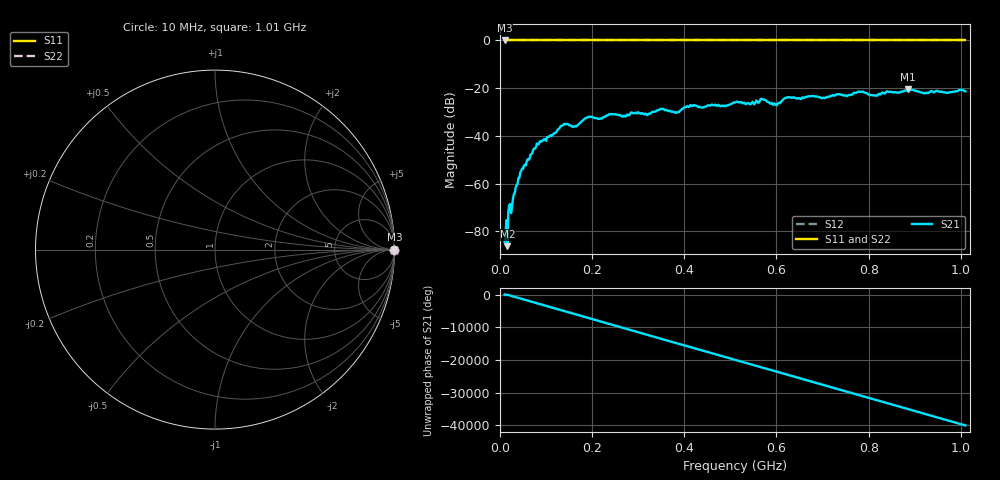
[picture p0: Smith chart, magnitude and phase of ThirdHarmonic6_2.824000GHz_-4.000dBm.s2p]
! 8/17/2025 7:29:21 AM
! C:\ANRITSUVNA\TEMP\TEMP.S2P
! CHANNEL.1
! TR.MEASUREMENT
! RAW.DATA
! RF.CORRECTION.OFF
! AVERAGING.OFF
! IF.BANDWIDTH: 5KHZ
! SWEEPTYPE:  FREQ.SWEEP(Linear)
! Reference Plane Port Info
! PORT:  PORT1  PORT2
! DISTANCE:  0  m  0  m
! TIME:  0  s  0  s
! PHASE.OFFSET:  0  deg.  0  deg.
! LOSS:  0  dB  0  dB
! REF.LOSS:  0  dB  0  dB
! REF.FREQ:  0  Hz  0  Hz
! Power Info
! POWER:  -20  dBm  -20  dBm
! EFF.POWER:  -20  dBm  -20  dBm
! SOURCE.ATTEN:  0  dB  0  dB
! TEST.ATTEN:  0  dB  0  dB
# GHZ S RI R 50.0
! FREQ.GHZ  S11RE  S11IM  S21RE  S21IM  S12RE  S12IM  S22RE  S22IM
!; PortSelection: Port_12
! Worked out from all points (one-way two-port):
!   501 points, 10 MHz to 1.01 GHz, reference 50 ohm
!   highest |S21| = -20.47 dB at 886 MHz (marker M1); lowest = -86.2 dB at 16 MHz (marker M2)
!   lowest |S11| = 0.0 dB at 10 MHz (marker M3)
!   |S11| at or under -10 dB: nowhere
!   |S22| runs from 0.0 to 0.0 dB; largest |S21 - S12| = 1.1
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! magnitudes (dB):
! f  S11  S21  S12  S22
! 10 MHz  0.0  -84.4  0.0  0.0
! 12 MHz  0.0  -80.7  0.0  0.0
! 16 MHz  0.0  -86.2  0.0  0.0
! 44 MHz  0.0  -55.3  0.0  0.0
! 76 MHz  0.0  -45.3  0.0  0.0
! 136 MHz  0.0  -35.6  0.0  0.0
! 162 MHz  0.0  -36.0  0.0  0.0
! 178 MHz  0.0  -33.9  0.0  0.0
! 194 MHz  0.0  -31.9  0.0  0.0
! 322 MHz  0.0  -30.9  0.0  0.0
! 344 MHz  0.0  -29.2  0.0  0.0
! 384 MHz  0.0  -30.1  0.0  0.0
! 416 MHz  0.0  -27.5  0.0  0.0
! 510 MHz  0.0  -26.0  0.0  0.0
! 548 MHz  0.0  -25.7  0.0  0.0
! 570 MHz  0.0  -24.5  0.0  0.0
! 596 MHz  0.0  -26.4  0.0  0.0
! 624 MHz  0.0  -23.8  0.0  0.0
! 678 MHz  0.0  -23.3  0.0  0.0
! 844 MHz  0.0  -21.6  0.0  0.0
! 886 MHz  0.0  -20.5  0.0  0.0
! 1.01 GHz  0.0  -21.3  0.0  0.0
